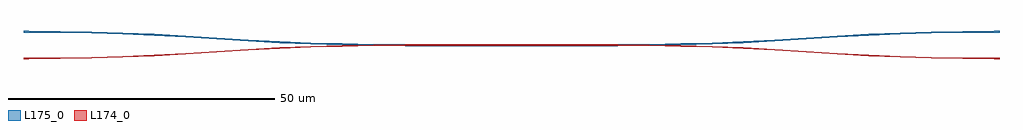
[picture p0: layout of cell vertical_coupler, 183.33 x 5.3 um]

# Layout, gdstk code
import gdstk
lib = gdstk.Library(unit=1e-6, precision=1e-09)
def R(c, l, rs):  # rectangles x0, y0, x1, y1
    for r in rs: c.add(gdstk.rectangle(r[:2], r[2:], *l))
def P(c, l, *ps):  # polygons
    for p in ps: c.add(gdstk.Polygon(p, *l))
L174_0 = (174, 0)
L175_0 = (175, 0)

vertical_coupler = lib.new_cell('vertical_coupler')
R(vertical_coupler, L174_0, [(0,-0.125,1,0.125), (182.333,-0.125,183.333,0.125), (71.666,2.375,111.666,2.625)])
P(vertical_coupler, L174_0, [(1,-0.125),(6.895,-0.09),(12.789,0.014),(18.682,0.188),(24.572,0.431),(30.459,0.743),(36.342,1.125),(36.324,1.375),(30.445,0.993),(24.561,0.681),(18.673,0.438),(12.784,0.264),(6.892,0.16),(1,0.125)],
  [(36.324,1.375),(42.207,1.757),(48.094,2.069),(53.984,2.312),(59.877,2.486),(65.771,2.59),(71.666,2.625),(71.666,2.375),(65.774,2.34),(59.883,2.236),(53.993,2.062),(48.106,1.819),(42.222,1.507),(36.342,1.125)],
  [(111.666,2.625),(117.562,2.59),(123.456,2.486),(129.349,2.312),(135.239,2.069),(141.126,1.757),(147.009,1.375),(146.991,1.125),(141.111,1.507),(135.227,1.819),(129.34,2.062),(123.45,2.236),(117.559,2.34),(111.666,2.375)],
  [(146.991,1.125),(152.874,0.743),(158.761,0.431),(164.651,0.188),(170.544,0.014),(176.438,-0.09),(182.333,-0.125),(182.333,0.125),(176.441,0.16),(170.549,0.264),(164.66,0.438),(158.772,0.681),(152.888,0.993),(147.009,1.375)])
R(vertical_coupler, L175_0, [(71.666,2.326,111.666,2.673), (0,4.826,1,5.173), (182.333,4.826,183.333,5.173)])
P(vertical_coupler, L175_0, [(1,5.173),(6.896,5.139),(12.791,5.035),(18.684,4.861),(24.575,4.618),(30.462,4.305),(36.345,3.923),(36.321,3.577),(30.442,3.959),(24.558,4.271),(18.672,4.514),(12.782,4.688),(6.892,4.792),(1,4.827)],
  [(36.321,3.577),(42.204,3.195),(48.092,2.882),(53.983,2.639),(59.876,2.465),(65.771,2.361),(71.666,2.327),(71.666,2.673),(65.775,2.708),(59.884,2.812),(53.995,2.986),(48.108,3.229),(42.225,3.541),(36.345,3.923)],
  [(111.666,2.327),(117.562,2.361),(123.457,2.465),(129.35,2.639),(135.241,2.882),(141.129,3.195),(147.012,3.577),(146.987,3.923),(141.108,3.541),(135.225,3.229),(129.338,2.986),(123.449,2.812),(117.558,2.708),(111.666,2.673)],
  [(146.987,3.923),(152.871,4.305),(158.758,4.618),(164.649,4.861),(170.542,5.035),(176.437,5.139),(182.333,5.173),(182.333,4.827),(176.441,4.792),(170.551,4.688),(164.661,4.514),(158.775,4.271),(152.891,3.959),(147.012,3.577)])

lib.write_gds('vertical_coupler.gds')
